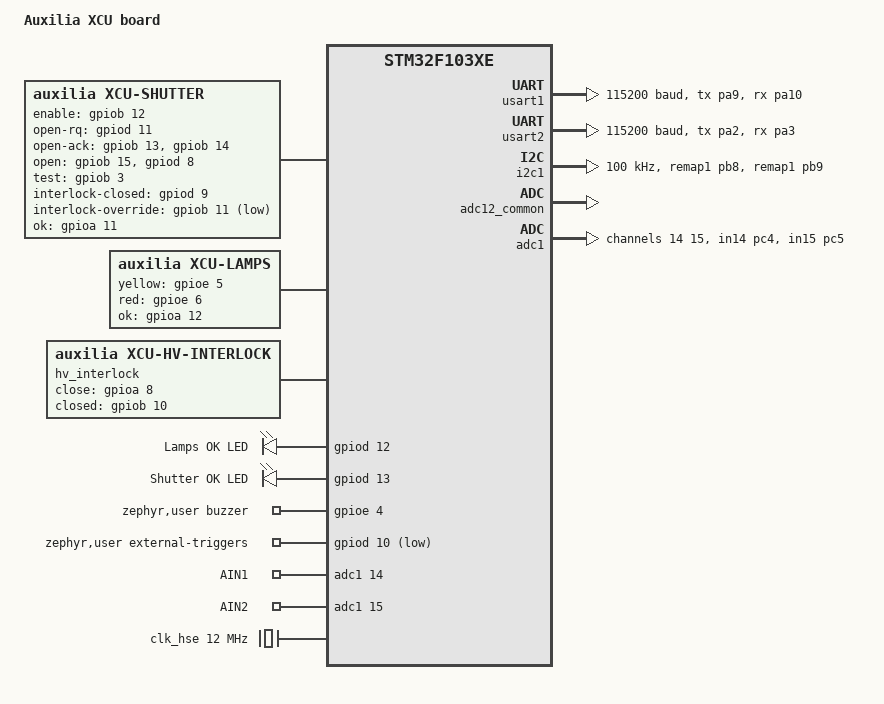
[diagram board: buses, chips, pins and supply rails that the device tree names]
/*
 * SPDX-License-Identifier: Apache-2.0
 */

/dts-v1/;
#include <st/f1/stm32f103Xe.dtsi>
#include <st/f1/stm32f103v(c-d-e)tx-pinctrl.dtsi>

/ {
	model = "Auxilia XCU board";
	compatible = "auxilia,xcu";

	chosen {
		zephyr,console = &usart1;
		zephyr,shell-uart = &usart1;
		zephyr,sram = &sram0;
		zephyr,flash = &flash0;
	};

	shutter: shutter {
		compatible = "auxilia,xcu-shutter";
		enable-gpios = <&gpiob 12 GPIO_ACTIVE_HIGH>;
		open-rq-gpios = <&gpiod 11 GPIO_ACTIVE_HIGH>;
		open-ack-gpios = <&gpiob 13 GPIO_ACTIVE_HIGH>,
				 <&gpiob 14 GPIO_ACTIVE_HIGH>;
		open-gpios = <&gpiob 15 GPIO_ACTIVE_HIGH>,
			     <&gpiod 8 GPIO_ACTIVE_HIGH>;
		test-gpios = <&gpiob 3 GPIO_ACTIVE_HIGH>;
		interlock-closed-gpios = <&gpiod 9 GPIO_ACTIVE_HIGH>;
		interlock-override-gpios = <&gpiob 11 GPIO_ACTIVE_LOW>;
		ok-gpios = <&gpioa 11 GPIO_ACTIVE_HIGH>;
	};

	lamps: lamps {
		compatible = "auxilia,xcu-lamps";
		yellow-gpios = <&gpioe 5 GPIO_ACTIVE_HIGH>;
		red-gpios = <&gpioe 6 GPIO_ACTIVE_HIGH>;
		ok-gpios = <&gpioa 12 GPIO_ACTIVE_HIGH>;

		lamp1: lamp_1 {
			label = "Lamp 1";
			status-gpios = <&gpioe 0 GPIO_ACTIVE_HIGH>,
				       <&gpioe 1 GPIO_ACTIVE_HIGH>,
				       <&gpioe 2 GPIO_ACTIVE_HIGH>,
				       <&gpioe 3 GPIO_ACTIVE_HIGH>;
		};

		lamp2: lamp_2 {
			label = "Lamp 2";
			status-gpios = <&gpiob 4 GPIO_ACTIVE_HIGH>,
				       <&gpiob 5 GPIO_ACTIVE_HIGH>,
				       <&gpiob 6 GPIO_ACTIVE_HIGH>,
				       <&gpiob 7 GPIO_ACTIVE_HIGH>;
		};

		lamp3: lamp_3 {
			label = "Lamp 3";
			status-gpios = <&gpiod 4 GPIO_ACTIVE_HIGH>,
				       <&gpiod 5 GPIO_ACTIVE_HIGH>,
				       <&gpiod 6 GPIO_ACTIVE_HIGH>,
				       <&gpiod 7 GPIO_ACTIVE_HIGH>;
		};

		lamp4: lamp_4 {
			label = "Lamp 4";
			status-gpios = <&gpiod 0 GPIO_ACTIVE_HIGH>,
				       <&gpiod 1 GPIO_ACTIVE_HIGH>,
				       <&gpiod 2 GPIO_ACTIVE_HIGH>,
				       <&gpiod 3 GPIO_ACTIVE_HIGH>;
		};

		lamp5: lamp_5 {
			label = "Lamp 5";
			status-gpios = <&gpioc 8 GPIO_ACTIVE_HIGH>,
				       <&gpioc 9 GPIO_ACTIVE_HIGH>,
				       <&gpioc 10 GPIO_ACTIVE_HIGH>,
				       <&gpioc 11 GPIO_ACTIVE_HIGH>;
		};
	};

	hv_interlock: hv_interlock {
		compatible = "auxilia,xcu-hv-interlock";
		close-gpios = <&gpioa 8 GPIO_ACTIVE_HIGH>;
		closed-gpios = <&gpiob 10 GPIO_ACTIVE_HIGH>;
	};

	leds: leds {
		compatible = "gpio-leds";

		lamps_ok_led: led_0 {
			gpios = <&gpiod 12 GPIO_ACTIVE_HIGH>;
			label = "Lamps OK LED";
		};

		shutter_ok_led: led_1 {
			gpios = <&gpiod 13 GPIO_ACTIVE_HIGH>;
			label = "Shutter OK LED";
		};
	};

	zephyr,user {
		buzzer-gpios = <&gpioe 4 GPIO_ACTIVE_HIGH>;
		external-triggers-gpios = <&gpiod 10 GPIO_ACTIVE_LOW>;
		io-channels = <&adc1 14>, <&adc1 15>;
		io-channel-names = "AIN1", "AIN2";
	};

	aliases {
		led0 = &lamps_ok_led;
		led1 = &shutter_ok_led;
	};
};

&clk_hse {
	clock-frequency = <DT_FREQ_M(12)>;
	status = "okay";
};

&pll {
	mul = <6>;
	clocks = <&clk_hse>;
	status = "okay";
};

&rcc {
	clocks = <&pll>;
	clock-frequency = <DT_FREQ_M(72)>;
	ahb-prescaler = <1>;
	apb1-prescaler = <2>;
	apb2-prescaler = <1>;
};

/* SWD only, releases PB3, PB4 and PA15 for GPIO use */
&pinctrl {
	swj-cfg = "jtag-disable";
};

/* XPORT, CLI */
&usart1 {
	pinctrl-0 = <&usart1_tx_pa9 &usart1_rx_pa10>;
	pinctrl-names = "default";
	current-speed = <115200>;
	status = "okay";
};

/* LCD */
&usart2 {
	pinctrl-0 = <&usart2_tx_pa2 &usart2_rx_pa3>;
	pinctrl-names = "default";
	current-speed = <115200>;
	status = "okay";
};

&i2c1 {
	pinctrl-0 = <&i2c1_scl_remap1_pb8 &i2c1_sda_remap1_pb9>;
	pinctrl-names = "default";
	clock-frequency = <I2C_BITRATE_STANDARD>;
	status = "okay";
};

&adc12_common {
	status = "okay";
};

/* PCLK2 / 6 = 12 MHz, ADC clock must not exceed 14 MHz */
&adc1 {
	clocks = <&rcc STM32_CLOCK(APB2, 9)>,
		 <&rcc STM32_SRC_SYSCLK ADC_PRE(ADC_PRE_DIV_6)>;
	clock-names = "adcx", "adc_pre";
	pinctrl-0 = <&adc1_in14_pc4 &adc1_in15_pc5>;
	pinctrl-names = "default";
	#address-cells = <1>;
	#size-cells = <0>;
	status = "okay";

	channel@e {
		reg = <14>;
		zephyr,gain = "ADC_GAIN_1";
		zephyr,reference = "ADC_REF_INTERNAL";
		zephyr,acquisition-time = <ADC_ACQ_TIME(ADC_ACQ_TIME_TICKS, 240)>;
		zephyr,resolution = <12>;
	};

	channel@f {
		reg = <15>;
		zephyr,gain = "ADC_GAIN_1";
		zephyr,reference = "ADC_REF_INTERNAL";
		zephyr,acquisition-time = <ADC_ACQ_TIME(ADC_ACQ_TIME_TICKS, 240)>;
		zephyr,resolution = <12>;
	};
};
